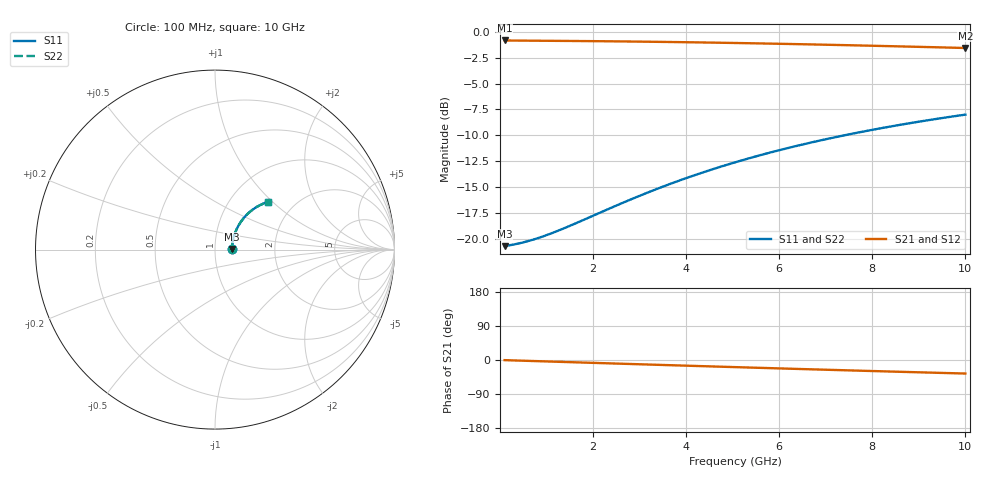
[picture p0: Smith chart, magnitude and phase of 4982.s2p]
# Hz S RI R 50.00
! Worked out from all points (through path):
!   100 points, 100 MHz to 10 GHz, reference 50 ohm
!   highest |S21| = -0.84 dB at 100 MHz (marker M1); lowest = -1.6 dB at 10 GHz (marker M2)
!   group delay of S21, straight-line fit = 9.96 ps
!   lowest |S11| = -20.7 dB at 100 MHz (marker M3), VSWR 1.20, Z = 60.1 + j0.461 ohm
!   |S11| at or under -10 dB: start of sweep to 7.407 GHz
!   |S22| runs from -20.7 to -8.0 dB; largest |S21 - S12| = 1e-13
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1e8  0.092 0.00381  0.908 -0.006  0.908 -0.006  0.092 0.00381
3e8  0.0931 0.0114  0.9069 -0.018  0.9069 -0.018  0.0931 0.0114
5e8  0.0941 0.0189  0.9058 -0.0299  0.9058 -0.0299  0.0941 0.0189
8e8  0.0958 0.0302  0.9041 -0.0478  0.9041 -0.0478  0.0958 0.0302
1e9  0.097 0.0376  0.9027 -0.0596  0.9027 -0.0596  0.097 0.0376
1.2e9  0.0984 0.0451  0.9012 -0.0715  0.9012 -0.0715  0.0984 0.0451
1.5e9  0.1008 0.0561  0.8986 -0.0891  0.8986 -0.0891  0.1008 0.0561
1.8e9  0.1036 0.067  0.8956 -0.1066  0.8956 -0.1066  0.1036 0.067
2.7e9  0.1143 0.0989  0.8838 -0.1583  0.8838 -0.1583  0.1143 0.0989
3.1e9  0.1202 0.1125  0.8774 -0.1807  0.8774 -0.1807  0.1202 0.1125
3.4e9  0.125 0.1225  0.872 -0.1973  0.872 -0.1973  0.125 0.1225
3.8e9  0.132 0.1354  0.8643 -0.2191  0.8643 -0.2191  0.132 0.1354
4.2e9  0.1396 0.1479  0.8559 -0.2404  0.8559 -0.2404  0.1396 0.1479
4.6e9  0.1478 0.1599  0.8468 -0.2613  0.8468 -0.2613  0.1478 0.1599
5.1e9  0.1587 0.1742  0.8346 -0.2867  0.8346 -0.2867  0.1587 0.1742
5.5e9  0.1681 0.185  0.8241 -0.3064  0.8241 -0.3064  0.1681 0.185
5.9e9  0.1779 0.1953  0.8131 -0.3255  0.8131 -0.3255  0.1779 0.1953
6.7e9  0.1988 0.2141  0.7897 -0.3621  0.7897 -0.3621  0.1988 0.2141
7.5e9  0.221 0.2305  0.7644 -0.3963  0.7644 -0.3963  0.221 0.2305
8.4e9  0.2473 0.246  0.7344 -0.4319  0.7344 -0.4319  0.2473 0.246
9.2e9  0.2715 0.257  0.7065 -0.461  0.7065 -0.461  0.2715 0.257
1e10  0.2961 0.2656  0.6778 -0.4876  0.6778 -0.4876  0.2961 0.2656
